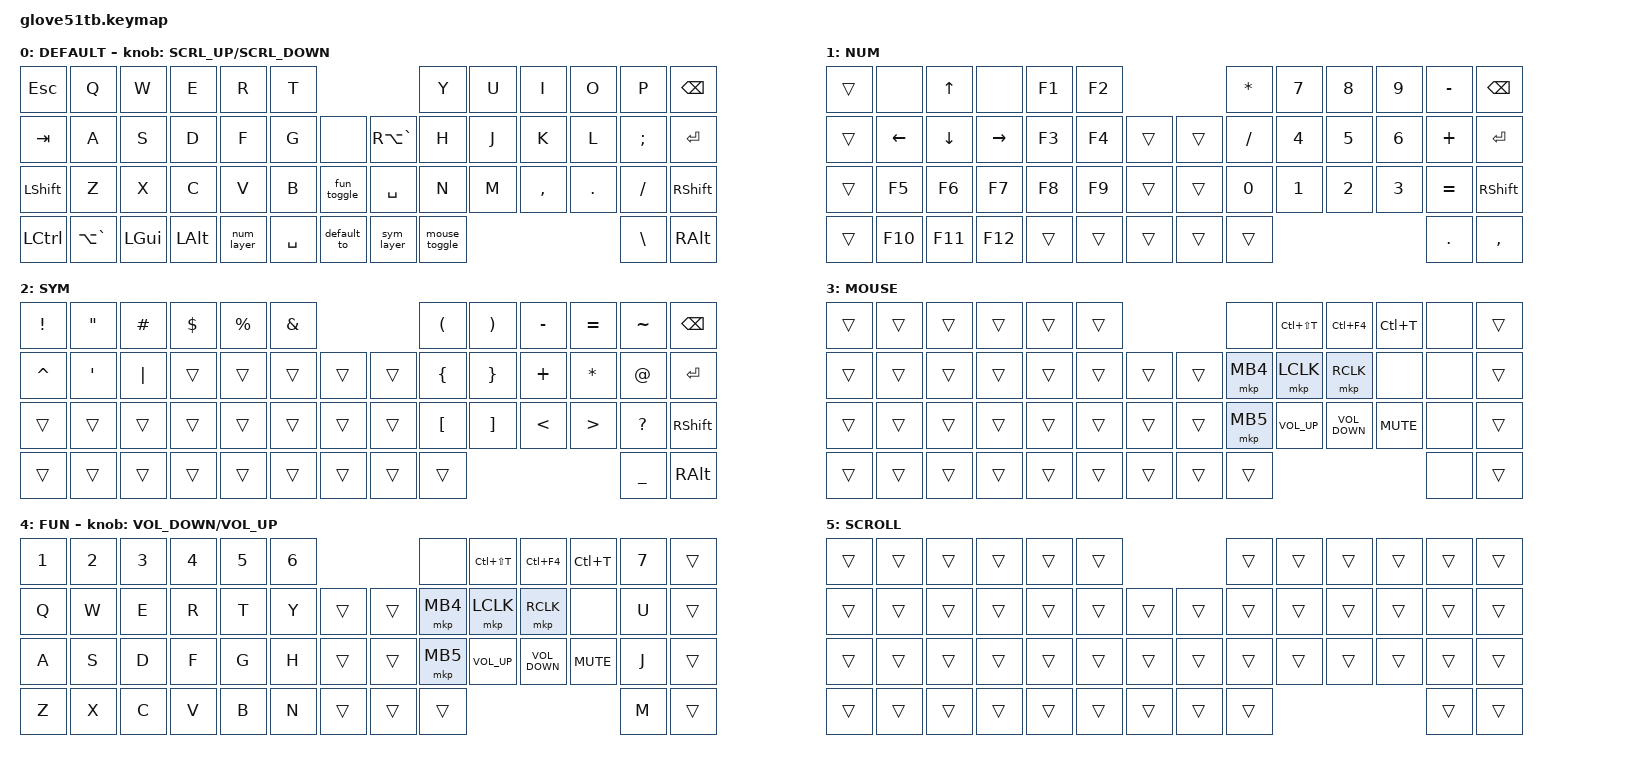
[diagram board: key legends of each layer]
#define ZMK_POINTING_DEFAULT_SCRL_VAL 150

#include <behaviors/rgbled_widget.dtsi>
#include <dt-bindings/zmk/input_transform.h>
#include <input/processors.dtsi>
#include <zephyr/dt-bindings/input/input-event-codes.h>
#include <behaviors.dtsi>
#include <dt-bindings/zmk/keys.h>
#include <dt-bindings/zmk/pointing.h>

// Layer Numbering

#define DEFAULT 0
#define NUM     1
#define SYM     2
#define FUN     3
#define MOUSE   4
#define SCROLL  5

&mmv {
    delay-ms = <20>;
    trigger-period-ms = <5>;
    time-to-max-speed-ms = <100>;
    acceleration-exponent = <2>;
};

&msc {
    delay-ms = <3>;
    trigger-period-ms = <3>;
    time-to-max-speed-ms = <100>;
    acceleration-exponent = <0>;
};

/ {
    input_processors {
        zip_wheel_scaler: zip_wheel_scaler {
            compatible = "zmk,input-processor-scaler";
            #input-processor-cells = <2>;
            type = <INPUT_EV_REL>;
            codes = <INPUT_REL_WHEEL>;
            track-remainders;
        };
    };
};

/ {
    combos {
        compatible = "zmk,combos";

        scroll {
            bindings = <&mo 5>;
            key-positions = <21 22>;
        };
    };

    behaviors {
        sensor_rotate_kp: sensor_rotate_kp {
            compatible = "zmk,behavior-sensor-rotate-var";
            #sensor-binding-cells = <2>;
            bindings = <&kp>, <&kp>;
        };

        mouse_wheel_scroll: mouse_wheel_scroll {
            compatible = "zmk,behavior-sensor-rotate-var";
            #sensor-binding-cells = <2>;
            bindings = <&msc>, <&msc>;

            tap-ms = <20>;
        };
    };

    macros {
        mouse_layer: mouse_layer {
            compatible = "zmk,behavior-macro";
            #binding-cells = <0>;
            bindings =
                <&macro_press>,
                <&mo 3 &kp F17>,
                <&macro_pause_for_release>,
                <&macro_release>,
                <&kp F17 &mo 3>;

            label = "MOUSE_LAYER";
        };

        sym_layer: sym_layer {
            compatible = "zmk,behavior-macro";
            #binding-cells = <0>;
            bindings =
                <&macro_press>,
                <&mo 2 &kp F16>,
                <&macro_pause_for_release>,
                <&macro_release>,
                <&kp F16 &mo 2>;

            label = "SYM_LAYER";
        };

        fun_layer: fun_layer {
            compatible = "zmk,behavior-macro";
            #binding-cells = <0>;
            bindings =
                <&macro_press>,
                <&mo 4 &kp F13>,
                <&macro_pause_for_release>,
                <&macro_release>,
                <&kp F13 &mo 4>;

            label = "FUN_LAYER";
        };

        default_layer: default_layer {
            compatible = "zmk,behavior-macro";
            #binding-cells = <0>;
            bindings =
                <&macro_press>,
                <&mo 0 &kp F15>,
                <&macro_pause_for_release>,
                <&macro_release>,
                <&kp F15 &mo 0>;

            label = "DEFAULT_LAYER";
        };

        mouse_toggle: mouse_tap {
            compatible = "zmk,behavior-macro";
            #binding-cells = <0>;
            bindings = <&macro_tap>, <&tog 3>, <&macro_tap>, <&kp F17>;

            label = "MOUSE_TAP";
        };

        default_to: default_toggle {
            compatible = "zmk,behavior-macro";
            #binding-cells = <0>;
            bindings = <&macro_tap>, <&to 0>, <&macro_tap>, <&kp F15>;

            label = "DEFAULT_TOGGLE";
        };

        fun_toggle: fun_toggle {
            compatible = "zmk,behavior-macro";
            #binding-cells = <0>;
            bindings = <&macro_tap>, <&tog 4>, <&macro_tap>, <&kp F13>;

            label = "FUN_TOGGLE";
        };

        num_layer: num_layer {
            compatible = "zmk,behavior-macro";
            #binding-cells = <0>;
            bindings =
                <&macro_press>,
                <&mo 1 &kp F14>,
                <&macro_pause_for_release>,
                <&macro_release>,
                <&kp F14 &mo 1>;

            label = "NUM_LAYER";
        };
    };

    keymap {
        compatible = "zmk,keymap";

        default_layer {
            label = "DEFAULT";
            bindings = <
&kp ESC           &kp Q          &kp W         &kp E         &kp R       &kp T                                  &kp Y          &kp U  &kp I      &kp O    &kp P          &kp BSPC
&kp TAB           &kp A          &kp S         &kp D         &kp F       &kp G      &none        &kp RA(GRAVE)  &kp H          &kp J  &kp K      &kp L    &kp SEMI       &kp ENTER
&kp LEFT_SHIFT    &kp Z          &kp X         &kp C         &kp V       &kp B      &fun_toggle  &kp SPACE      &kp N          &kp M  &kp COMMA  &kp DOT  &kp FSLH       &kp RIGHT_SHIFT
&kp LEFT_CONTROL  &kp LA(GRAVE)  &kp LEFT_GUI  &kp LEFT_ALT  &num_layer  &kp SPACE  &default_to  &sym_layer     &mouse_toggle                             &kp BACKSLASH  &kp RALT
            >;

            sensor-bindings = <&mouse_wheel_scroll SCRL_UP SCRL_DOWN>;
        };

        number_layer {
            label = "NUM";
            bindings = <
&trans  &none     &kp UP    &none      &kp F1  &kp F2                  &kp STAR      &kp NUMBER_7  &kp NUMBER_8  &kp NUMBER_9  &kp MINUS  &kp BSPC
&trans  &kp LEFT  &kp DOWN  &kp RIGHT  &kp F3  &kp F4  &trans  &trans  &kp SLASH     &kp NUMBER_4  &kp NUMBER_5  &kp NUMBER_6  &kp PLUS   &kp ENTER
&trans  &kp F5    &kp F6    &kp F7     &kp F8  &kp F9  &trans  &trans  &kp NUMBER_0  &kp NUMBER_1  &kp NUMBER_2  &kp NUMBER_3  &kp EQUAL  &kp RIGHT_SHIFT
&trans  &kp F10   &kp F11   &kp F12    &trans  &trans  &trans  &trans  &trans                                                  &kp DOT    &kp COMMA
            >;
        };

        symbol_layer {
            label = "SYM";
            bindings = <
&kp EXCLAMATION  &kp DOUBLE_QUOTES  &kp HASH  &kp DOLLAR  &kp PERCENT  &kp AMPERSAND                  &kp LEFT_PARENTHESIS  &kp RIGHT_PARENTHESIS  &kp MINUS      &kp EQUAL         &kp TILDE       &kp BSPC
&kp CARET        &kp SINGLE_QUOTE   &kp PIPE  &trans      &trans       &trans         &trans  &trans  &kp LEFT_BRACE        &kp RBRC               &kp PLUS       &kp STAR          &kp AT_SIGN     &kp ENTER
&trans           &trans             &trans    &trans      &trans       &trans         &trans  &trans  &kp LEFT_BRACKET      &kp RIGHT_BRACKET      &kp LESS_THAN  &kp GREATER_THAN  &kp QMARK       &kp RIGHT_SHIFT
&trans           &trans             &trans    &trans      &trans       &trans         &trans  &trans  &trans                                                                        &kp UNDERSCORE  &kp RALT
            >;
        };

        mouse_layer {
            label = "MOUSE";
            bindings = <
&trans  &trans  &trans  &trans  &trans  &trans                  &none     &kp LC(LS(T))    &kp LC(F4)         &kp LC(T)   &none  &trans
&trans  &trans  &trans  &trans  &trans  &trans  &trans  &trans  &mkp MB4  &mkp LCLK        &mkp RCLK          &none       &none  &trans
&trans  &trans  &trans  &trans  &trans  &trans  &trans  &trans  &mkp MB5  &kp C_VOLUME_UP  &kp C_VOLUME_DOWN  &kp K_MUTE  &none  &trans
&trans  &trans  &trans  &trans  &trans  &trans  &trans  &trans  &trans                                                    &none  &trans
            >;
        };

        function_layer {
            label = "FUN";
            bindings = <
&kp NUMBER_1  &kp NUMBER_2  &kp NUMBER_3  &kp NUMBER_4  &kp NUMBER_5  &kp NUMBER_6                  &none     &kp LC(LS(T))    &kp LC(F4)         &kp LC(T)   &kp NUMBER_7  &trans
&kp Q         &kp W         &kp E         &kp R         &kp T         &kp Y         &trans  &trans  &mkp MB4  &mkp LCLK        &mkp RCLK          &none       &kp U         &trans
&kp A         &kp S         &kp D         &kp F         &kp G         &kp H         &trans  &trans  &mkp MB5  &kp C_VOLUME_UP  &kp C_VOLUME_DOWN  &kp K_MUTE  &kp J         &trans
&kp Z         &kp X         &kp C         &kp V         &kp B         &kp N         &trans  &trans  &trans                                                    &kp M         &trans
            >;

            sensor-bindings = <&sensor_rotate_kp C_VOLUME_DOWN C_VOLUME_UP>;
        };

        scroll_layer {
            label = "SCROLL";
            bindings = <
&trans  &trans  &trans  &trans  &trans  &trans                  &trans  &trans  &trans  &trans  &trans  &trans
&trans  &trans  &trans  &trans  &trans  &trans  &trans  &trans  &trans  &trans  &trans  &trans  &trans  &trans
&trans  &trans  &trans  &trans  &trans  &trans  &trans  &trans  &trans  &trans  &trans  &trans  &trans  &trans
&trans  &trans  &trans  &trans  &trans  &trans  &trans  &trans  &trans                          &trans  &trans
            >;
        };
    };
};
